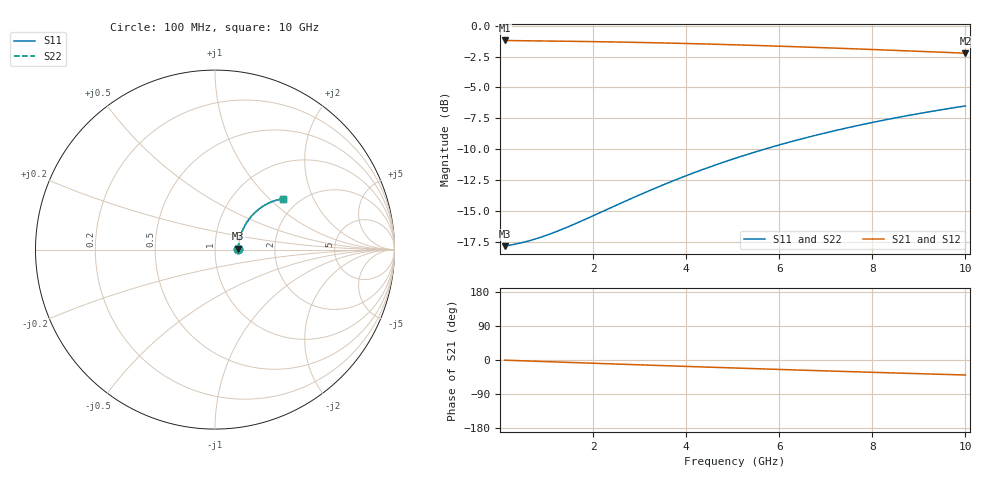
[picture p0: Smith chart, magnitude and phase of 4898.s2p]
# Hz S RI R 50.00
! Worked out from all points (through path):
!   100 points, 100 MHz to 10 GHz, reference 50 ohm
!   highest |S21| = -1.19 dB at 100 MHz (marker M1); lowest = -2.2 dB at 10 GHz (marker M2)
!   group delay of S21, straight-line fit = 11 ps
!   lowest |S11| = -17.9 dB at 100 MHz (marker M3), VSWR 1.29, Z = 64.6 + j0.589 ohm
!   |S11| at or under -10 dB: start of sweep to 5.688 GHz
!   |S22| runs from -17.9 to -6.5 dB; largest |S21 - S12| = 0
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1e8  0.1277 0.00448  0.8722 -0.00655  0.8722 -0.00655  0.1277 0.00448
5e8  0.1306 0.0222  0.8693 -0.0326  0.8693 -0.0326  0.1306 0.0222
7e8  0.132 0.031  0.8679 -0.0455  0.8679 -0.0455  0.132 0.031
9e8  0.1336 0.0398  0.8662 -0.0584  0.8662 -0.0584  0.1336 0.0398
1.1e9  0.1353 0.0485  0.8644 -0.0713  0.8644 -0.0713  0.1353 0.0485
1.3e9  0.1373 0.0571  0.8623 -0.084  0.8623 -0.084  0.1373 0.0571
1.8e9  0.1432 0.0784  0.8561 -0.1156  0.8561 -0.1156  0.1432 0.0784
2.6e9  0.1554 0.111  0.843 -0.1649  0.843 -0.1649  0.1554 0.111
3e9  0.1629 0.1267  0.835 -0.1888  0.835 -0.1888  0.1629 0.1267
3.4e9  0.1711 0.1417  0.8262 -0.2122  0.8262 -0.2122  0.1711 0.1417
3.8e9  0.1802 0.1562  0.8165 -0.235  0.8165 -0.235  0.1802 0.1562
4.2e9  0.19 0.17  0.8059 -0.2571  0.8059 -0.2571  0.19 0.17
4.6e9  0.2004 0.1831  0.7947 -0.2786  0.7947 -0.2786  0.2004 0.1831
5.1e9  0.2144 0.1985  0.7796 -0.3044  0.7796 -0.3044  0.2144 0.1985
5.5e9  0.2262 0.2099  0.7668 -0.3242  0.7668 -0.3242  0.2262 0.2099
5.9e9  0.2385 0.2205  0.7535 -0.3433  0.7535 -0.3433  0.2385 0.2205
6.3e9  0.2512 0.2304  0.7396 -0.3615  0.7396 -0.3615  0.2512 0.2304
6.7e9  0.2643 0.2394  0.7253 -0.379  0.7253 -0.379  0.2643 0.2394
7.5e9  0.2913 0.255  0.6955 -0.4115  0.6955 -0.4115  0.2913 0.255
8.4e9  0.3227 0.2687  0.6607 -0.4444  0.6607 -0.4444  0.3227 0.2687
9.2e9  0.351 0.2775  0.6291 -0.4703  0.6291 -0.4703  0.351 0.2775
1e10  0.3792 0.2832  0.597 -0.4933  0.597 -0.4933  0.3792 0.2832
